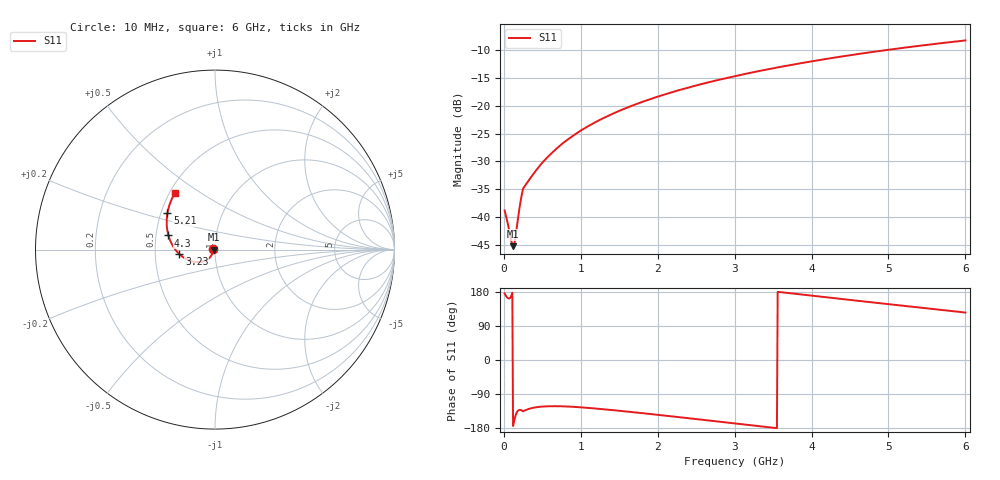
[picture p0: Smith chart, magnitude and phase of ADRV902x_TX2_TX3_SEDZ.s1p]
! Created Fri Aug 11 07:35:28 2017
! ADRV902x PRELIMINARY Packaged Device Port Z Model.
! RFIO Ports : TX2 & TX3.
! Z Format : SEDZ.
! Valid Frequency Range : 0 Ghz to 6 Ghz.
# hz S ma R 50
! 1 Port Network Data from SP2.SP block
! freq  magS11  angS11
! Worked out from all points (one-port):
!   600 points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, 10 MHz to 6 GHz, reference 50 ohm
!   lowest |S11| = -45.3 dB at 120 MHz (marker M1), VSWR 1.01, Z = 49.5 - j0.0547 ohm
!   |S11| at or under -10 dB: start of sweep to 4.959 GHz
!   S11 on the Smith chart (normalised r, x): 10 MHz: 0.98, +0.00; 3.23 GHz: 0.67, -0.04; 4.3 GHz: 0.58, +0.10; 5.21 GHz: 0.54, +0.25; 6 GHz: 0.53, +0.40
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1e7  0.01143 175.7
4e7  0.009409 165.6
8e7  0.006966 163.6
1e8  0.005948 171.0
1.2e8  0.005442 -174.2
1.3e8  0.005515 -165.0
1.5e8  0.006423 -148.3
2.2e8  0.01411 -131.9
2.4e8  0.01668 -133.8
2.7e8  0.01881 -133.3
3.8e8  0.02412 -126.1
5e8  0.0307 -123.0
6.2e8  0.03732 -122.0
7.6e8  0.04558 -122.2
9.3e8  0.05551 -123.9
1.08e9  0.06445 -126.1
1.27e9  0.07595 -129.5
1.51e9  0.09053 -134.2
1.84e9  0.1107 -141.1
2.26e9  0.1371 -150.4
3.01e9  0.1852 -167.5
3.23e9  0.1996 -172.5
3.76e9  0.2348 175.3
4.3e9  0.2712 163.1
4.51e9  0.2856 158.3
5.21e9  0.3334 142.6
5.26e9  0.3368 141.5
6e9  0.3869 125.2
